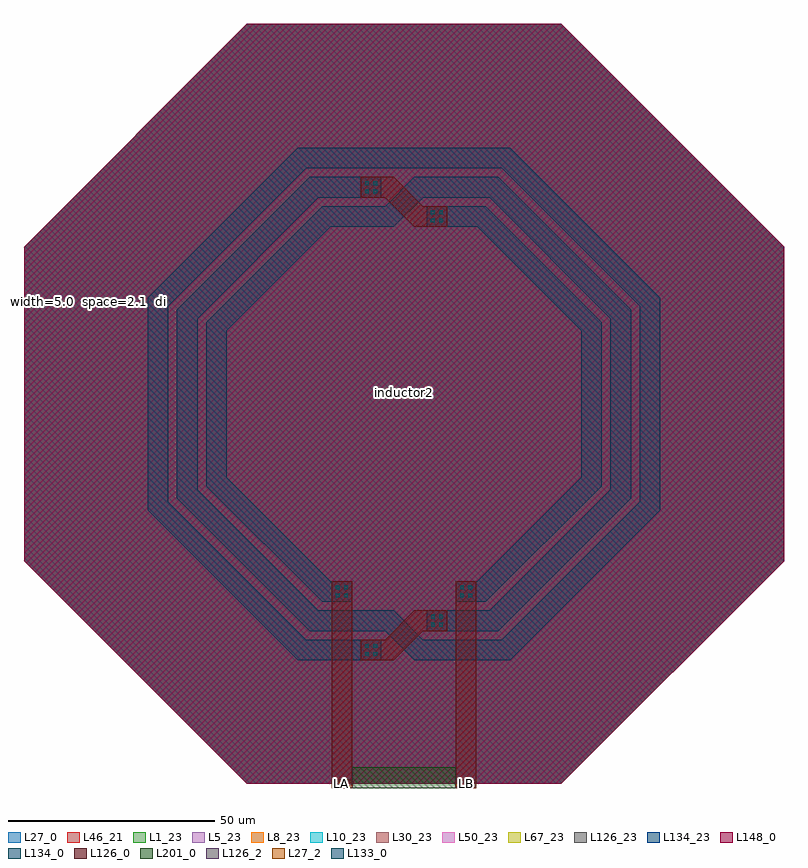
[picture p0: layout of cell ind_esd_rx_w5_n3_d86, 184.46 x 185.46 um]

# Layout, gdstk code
import gdstk
lib = gdstk.Library(unit=1e-6, precision=1e-09)
def R(c, l, rs):  # rectangles x0, y0, x1, y1
    for r in rs: c.add(gdstk.rectangle(r[:2], r[2:], *l))
def P(c, l, *ps):  # polygons
    for p in ps: c.add(gdstk.Polygon(p, *l))
L1_23 = (1, 23)
L5_23 = (5, 23)
L8_23 = (8, 23)
L10_23 = (10, 23)
L27_0 = (27, 0)
L27_2 = (27, 2)
L30_23 = (30, 23)
L46_21 = (46, 21)
L50_23 = (50, 23)
L67_23 = (67, 23)
L126_0 = (126, 0)
L126_2 = (126, 2)
L126_23 = (126, 23)
L133_0 = (133, 0)
L134_0 = (134, 0)
L134_23 = (134, 23)
L148_0 = (148, 0)
L201_0 = (201, 0)

ind_esd_rx_w5_n3_d86 = lib.new_cell('ind_esd_rx_w5_n3_d86')
P(ind_esd_rx_w5_n3_d86, L1_23, [(-38.2,0),(-92.23,54.03),(-92.23,130.43),(-38.2,184.46),(38.2,184.46),(92.23,130.43),(92.23,54.03),(38.2,0)])
P(ind_esd_rx_w5_n3_d86, L5_23, [(-38.2,0),(-92.23,54.03),(-92.23,130.43),(-38.2,184.46),(38.2,184.46),(92.23,130.43),(92.23,54.03),(38.2,0)])
P(ind_esd_rx_w5_n3_d86, L8_23, [(-38.2,0),(-92.23,54.03),(-92.23,130.43),(-38.2,184.46),(38.2,184.46),(92.23,130.43),(92.23,54.03),(38.2,0)])
P(ind_esd_rx_w5_n3_d86, L10_23, [(-38.2,0),(-92.23,54.03),(-92.23,130.43),(-38.2,184.46),(38.2,184.46),(92.23,130.43),(92.23,54.03),(38.2,0)])
P(ind_esd_rx_w5_n3_d86, L27_0, [(-38.2,0),(-92.23,54.03),(-92.23,130.43),(-38.2,184.46),(38.2,184.46),(92.23,130.43),(92.23,54.03),(38.2,0)])
R(ind_esd_rx_w5_n3_d86, L27_2, [(-17.575,-1,-12.575,1), (12.575,-1,17.575,1)])
P(ind_esd_rx_w5_n3_d86, L30_23, [(-38.2,0),(-92.23,54.03),(-92.23,130.43),(-38.2,184.46),(38.2,184.46),(92.23,130.43),(92.23,54.03),(38.2,0)])
P(ind_esd_rx_w5_n3_d86, L46_21, [(-38.2,0),(-92.23,54.03),(-92.23,130.43),(-38.2,184.46),(38.2,184.46),(92.23,130.43),(92.23,54.03),(38.2,0)])
P(ind_esd_rx_w5_n3_d86, L50_23, [(-38.2,0),(-92.23,54.03),(-92.23,130.43),(-38.2,184.46),(38.2,184.46),(92.23,130.43),(92.23,54.03),(38.2,0)])
P(ind_esd_rx_w5_n3_d86, L67_23, [(-38.2,0),(-92.23,54.03),(-92.23,130.43),(-38.2,184.46),(38.2,184.46),(92.23,130.43),(92.23,54.03),(38.2,0)])
P(ind_esd_rx_w5_n3_d86, L126_0, [(2.535,135.2),(-4.585,142.32),(-10.475,142.32),(-10.475,147.32),(-2.535,147.32),(4.585,140.2),(10.475,140.2),(10.475,135.2)],
  [(-10.475,30),(-10.475,35),(-4.595,35),(2.505,42.1),(10.485,42.1),(10.485,37.1),(4.585,37.1),(-2.515,30)])
R(ind_esd_rx_w5_n3_d86, L126_2, [(-17.575,-1,-12.575,1), (-17.575,-1,-12.575,1), (12.575,-1,17.575,1), (12.575,-1,17.575,1)])
P(ind_esd_rx_w5_n3_d86, L126_23, [(-38.2,0),(-92.23,54.03),(-92.23,130.43),(-38.2,184.46),(38.2,184.46),(92.23,130.43),(92.23,54.03),(38.2,0)])
R(ind_esd_rx_w5_n3_d86, L133_0, [(-9.405,31.07,-8.505,31.97), (-7.445,31.07,-6.545,31.97), (-9.405,33.03,-8.505,33.93), (-7.445,33.03,-6.545,33.93), (6.555,38.17,7.455,39.07), (8.515,38.17,9.415,39.07), (6.555,40.13,7.455,41.03), (8.515,40.13,9.415,41.03), (-16.505,45.27,-15.605,46.17), (-14.545,45.27,-13.645,46.17), (13.645,45.27,14.545,46.17), (15.605,45.27,16.505,46.17), (-16.505,47.23,-15.605,48.13), (-14.545,47.23,-13.645,48.13), (13.645,47.23,14.545,48.13), (15.605,47.23,16.505,48.13), (6.545,136.27,7.445,137.17), (8.505,136.27,9.405,137.17), (6.545,138.23,7.445,139.13), (8.505,138.23,9.405,139.13), (-9.405,143.37,-8.505,144.27), (-7.445,143.37,-6.545,144.27), (-9.405,145.33,-8.505,146.23), (-7.445,145.33,-6.545,146.23)])
R(ind_esd_rx_w5_n3_d86, L134_0, [(-5.475,149.44,5.475,154.44)])
P(ind_esd_rx_w5_n3_d86, L134_0, [(12.575,44.2),(12.575,49.2),(17.81,49.2),(43,74.39),(43,110.01),(17.81,135.2),(5.475,135.2),(5.475,140.2),(19.89,140.2),(48,112.09),(48,72.31),(19.89,44.2)],
  [(-19.89,44.2),(-48,72.31),(-48,112.09),(-19.89,140.2),(-5.475,140.2),(-5.475,135.2),(-17.81,135.2),(-43,110.01),(-43,74.39),(-17.81,49.2),(-12.575,49.2),(-12.575,44.2)],
  [(-5.475,135.2),(-5.475,140.2),(-4.585,140.2),(2.535,147.32),(5.475,147.32),(5.475,142.32),(4.615,142.32),(-2.505,135.2)],
  [(5.475,37.1),(5.475,42.1),(20.755,42.1),(50.11,71.455),(50.11,112.965),(20.755,142.32),(5.475,142.32),(5.475,147.32),(22.835,147.32),(55.11,115.045),(55.11,69.375),(22.835,37.1)],
  [(-22.835,37.1),(-55.11,69.375),(-55.11,115.045),(-22.835,147.32),(-5.475,147.32),(-5.475,142.32),(-20.755,142.32),(-50.11,112.965),(-50.11,71.455),(-20.755,42.1),(-5.475,42.1),(-5.475,37.1)],
  [(5.475,30),(5.475,35),(23.7,35),(57.22,68.52),(57.22,115.92),(23.7,149.44),(5.475,149.44),(5.475,154.44),(25.78,154.44),(62.22,118),(62.22,66.44),(25.78,30)],
  [(-25.78,30),(-62.22,66.44),(-62.22,118),(-25.78,154.44),(-5.475,154.44),(-5.475,149.44),(-23.7,149.44),(-57.22,115.92),(-57.22,68.52),(-23.7,35),(-5.475,35),(-5.475,30)],
  [(2.515,30),(-4.585,37.1),(-5.475,37.1),(-5.475,42.1),(-2.505,42.1),(4.595,35),(5.475,35),(5.475,30)])
P(ind_esd_rx_w5_n3_d86, L134_23, [(-38.2,0),(-92.23,54.03),(-92.23,130.43),(-38.2,184.46),(38.2,184.46),(92.23,130.43),(92.23,54.03),(38.2,0)])
P(ind_esd_rx_w5_n3_d86, L148_0, [(-38.2,0),(-92.23,54.03),(-92.23,130.43),(-38.2,184.46),(38.2,184.46),(92.23,130.43),(92.23,54.03),(38.2,0)])
R(ind_esd_rx_w5_n3_d86, L201_0, [(-12.575,-1,12.575,4)])
ind_esd_rx_w5_n3_d86.add(gdstk.FlexPath([(15.075,-1),(15.075,49.2)], 5, ends="flush", simple_path=True, layer=126, datatype=0))  # L126_0
ind_esd_rx_w5_n3_d86.add(gdstk.FlexPath([(-15.075,-1),(-15.075,49.2)], 5, ends="flush", simple_path=True, layer=126, datatype=0))  # L126_0
ind_esd_rx_w5_n3_d86.add(gdstk.Label('LB', (15.075,0), layer=27, texttype=25))
ind_esd_rx_w5_n3_d86.add(gdstk.Label('LA', (-15.075,0), layer=27, texttype=25))
ind_esd_rx_w5_n3_d86.add(gdstk.Label('inductor2', (0,95.033), layer=63, texttype=0))
ind_esd_rx_w5_n3_d86.add(gdstk.Label('  width=5.0\n  space=2.1\n  diameter=86.00\n  turns=3', (-92.23,117.2), layer=63, texttype=0))

lib.write_gds('ind_esd_rx_w5_n3_d86.gds')
